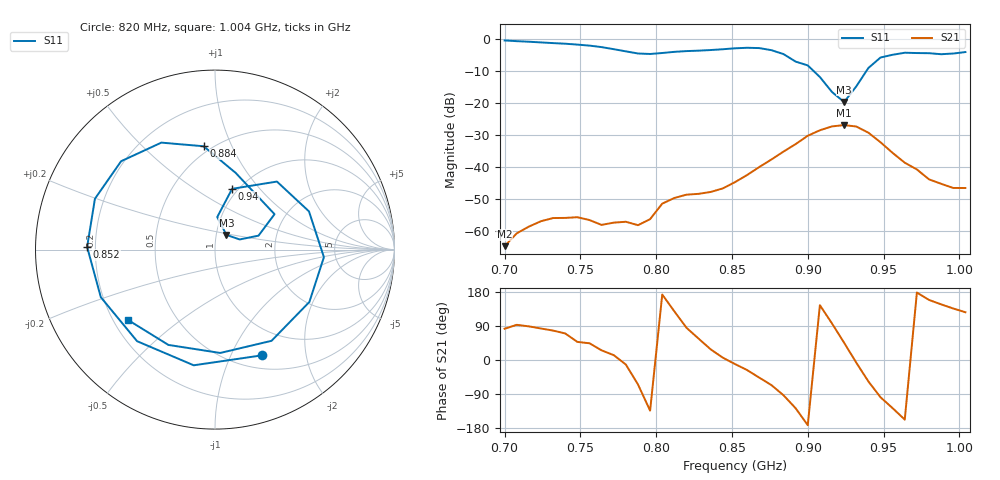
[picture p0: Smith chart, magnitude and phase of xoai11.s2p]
# Hz S RI R 50
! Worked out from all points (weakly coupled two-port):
!   39 points, 700 MHz to 1.004 GHz, reference 50 ohm
!   highest |S21| = -26.86 dB at 924 MHz (marker M1); lowest = -64.6 dB at 700 MHz (marker M2)
!   lowest |S11| = -19.7 dB at 924 MHz (marker M3), VSWR 1.23, Z = 56 + j9.28 ohm
!   |S11| at or under -10 dB: 903.8 MHz to 938.7 MHz (34.88 MHz wide, 3.79 % of centre)
!   S12 and S22 are empty: the file has one direction only
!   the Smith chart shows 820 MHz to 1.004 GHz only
!   S11 on the Smith chart (normalised r, x): 820 MHz: 0.66, -1.32; 852 MHz: 0.17, +0.01; 884 MHz: 0.45, +0.79; 940 MHz: 0.94, +0.73; 1.004 GHz: 0.26, -0.33
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7e8  0.7642 0.5551  7.73e-05 0.000584  0 0  0 0
7.24e8  0.8438 -0.2503  0.000173 0.00143  0 0  0 0
7.4e8  0.4573 -0.705  0.000555 0.00153  0 0  0 0
7.56e8  -0.195 -0.7605  0.00108 0.00105  0 0  0 0
7.72e8  -0.6624 -0.1956  0.00134 0.000304  0 0  0 0
7.8e8  -0.5949 0.2325  0.00138 -0.000293  0 0  0 0
7.88e8  -0.2425 0.5397  0.000536 -0.00113  0 0  0 0
7.96e8  0.2504 0.5248  -0.00107 -0.00113  0 0  0 0
8.04e8  0.5792 0.1653  -0.00269 0.00034  0 0  0 0
8.2e8  0.2626 -0.5891  0.000324 0.00373  0 0  0 0
8.36e8  -0.434 -0.5104  0.00364 0.00193  0 0  0 0
8.52e8  -0.7125 0.0146  0.00576 -0.00109  0 0  0 0
8.68e8  -0.5231 0.4924  0.00693 -0.00731  0 0  0 0
8.84e8  -0.0632 0.5757  -0.00092 -0.0175  0 0  0 0
9e8  0.3317 0.1975  -0.0306 -0.00431  0 0  0 0
9.08e8  0.2425 0.0777  -0.0307 0.0218  0 0  0 0
9.24e8  0.0636 0.082  0.0318 0.0324  0 0  0 0
9.4e8  0.0954 0.3386  0.0191 -0.0288  0 0  0 0
9.56e8  0.5236 0.2129  -0.0101 -0.0133  0 0  0 0
9.64e8  0.6068 -0.0422  -0.0109 -0.00454  0 0  0 0
9.8e8  0.315 -0.5082  -0.00603 0.00238  0 0  0 0
1.004e9  -0.4835 -0.3928  -0.0028 0.00384  0 0  0 0
